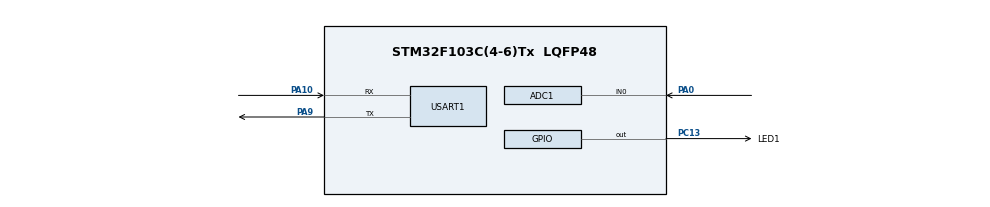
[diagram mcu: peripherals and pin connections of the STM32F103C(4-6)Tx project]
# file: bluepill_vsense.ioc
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ADC1.Channel-0\#ChannelRegularConversion=ADC_CHANNEL_0
ADC1.NbrOfConversionFlag=1
ADC1.Rank-0\#ChannelRegularConversion=1
ADC1.SamplingTime-0\#ChannelRegularConversion=ADC_SAMPLETIME_1CYCLE_5
ADC1.master=1
Mcu.Family=STM32F1
Mcu.Name=STM32F103C(4-6)Tx
Mcu.Package=LQFP48
NVIC.PriorityGroup=NVIC_PRIORITYGROUP_4
PA0-WKUP.Signal=ADCx_IN0
PA10.Mode=Asynchronous
PA10.Signal=USART1_RX
PA9.Mode=Asynchronous
PA9.Signal=USART1_TX
PC13-TAMPER-RTC.GPIO_Label=LED1
PC13-TAMPER-RTC.Signal=GPIO_Output
ProjectManager.HeapSize=0x200
ProjectManager.StackSize=0x400
ProjectManager.TargetToolchain=Makefile
RCC.APB1Freq_Value=8000000
RCC.APB2Freq_Value=8000000
SH.ADCx_IN0.0=ADC1_IN0,IN0
USART1.VirtualMode=VM_ASYNC
VP_SYS_VS_ND.Mode=No_Debug
board=custom

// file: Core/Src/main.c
/* USER CODE BEGIN Header */
/**
  ******************************************************************************
  * @file           : main.c
  * @brief          : Main program body
  ******************************************************************************
  * @attention
  *
  * Copyright (c) 2024 STMicroelectronics.
  * All rights reserved.
  *
  * This software is licensed under terms that can be found in the LICENSE file
  * in the root directory of this software component.
  * If no LICENSE file comes with this software, it is provided AS-IS.
  *
  ******************************************************************************
  */
/* USER CODE END Header */
#include "main.h"
#include <stdio.h>

ADC_HandleTypeDef hadc1;

UART_HandleTypeDef huart1;

void SystemClock_Config(void);
static void MX_GPIO_Init(void);
static void MX_ADC1_Init(void);
static void MX_USART1_UART_Init(void);

/* USER CODE BEGIN 0 */

int _write(int file, char *data, int len)
  {
    HAL_UART_Transmit(&huart1, (uint8_t*)data, len, HAL_MAX_DELAY);
    return len;
  }

void send_uart_message(const char *message)
  {
  // Send the string over UART
  HAL_UART_Transmit(&huart1, (uint8_t*)message, strlen(message), HAL_MAX_DELAY);
  }

/**
 * @brief   Checks the precharge voltage until voltage threshold is reached.
 * @param   vsense_target
 * @author  Alex Martinez
 */
int vsense(uint16_t vsense_target, int num_tries)
{
    int i=0;
    uint16_t value_adc;
    HAL_GPIO_TogglePin(LED1_GPIO_Port, LED1_Pin); //LED1
    while(i<num_tries)
    {
    HAL_ADC_Start(&hadc1); //needs to be here otherwise PollforConversion doesnt work
    HAL_ADC_PollForConversion(&hadc1, HAL_MAX_DELAY);
    value_adc = HAL_ADC_GetValue(&hadc1);
    if (value_adc > vsense_target) { // 4095 * 24(target voltage) / 103.6
      //HAL_GPIO_WritePin(DEBUG_2_GPIO_Port, DEBUG_2_Pin, GPIO_PIN_SET); //LED1
      send_uart_message("Threshold reached!\r\n");
      HAL_GPIO_TogglePin(LED1_GPIO_Port, LED1_Pin); //LED1
      return 1;
    } else {
      //HAL_GPIO_WritePin(DEBUG_2_GPIO_Port, DEBUG_2_Pin, GPIO_PIN_RESET); //LED2
      send_uart_message("undervoltage!\r\n");
    }
    i++;
    HAL_Delay(1000);
    }

  return 0;
  // placeholder
}

/* USER CODE END 0 */

int main(void)
{

  /* MCU Configuration--------------------------------------------------------*/

  /* Reset of all peripherals, Initializes the Flash interface and the Systick. */
  HAL_Init();

  /* Configure the system clock */
  SystemClock_Config();

  /* Initialize all configured peripherals */
  MX_GPIO_Init();
  MX_ADC1_Init();
  MX_USART1_UART_Init();
  /* USER CODE BEGIN 2 */
  uint16_t vsense_target = 2000;
  int num_tries = 10;

  vsense(vsense_target, num_tries);

  /* USER CODE END 2 */

  /* Infinite loop */
  while (1)
  {

    /* USER CODE BEGIN 3 */
    send_uart_message("Reset to test again.\r\n");
    HAL_Delay(1000);

  }
  /* USER CODE END 3 */
}

void SystemClock_Config(void)
{
  RCC_OscInitTypeDef RCC_OscInitStruct = {0};
  RCC_ClkInitTypeDef RCC_ClkInitStruct = {0};
  RCC_PeriphCLKInitTypeDef PeriphClkInit = {0};

  /** Initializes the RCC Oscillators according to the specified parameters
  * in the RCC_OscInitTypeDef structure.
  */
  RCC_OscInitStruct.OscillatorType = RCC_OSCILLATORTYPE_HSI;
  RCC_OscInitStruct.HSIState = RCC_HSI_ON;
  RCC_OscInitStruct.HSICalibrationValue = RCC_HSICALIBRATION_DEFAULT;
  RCC_OscInitStruct.PLL.PLLState = RCC_PLL_NONE;
  if (HAL_RCC_OscConfig(&RCC_OscInitStruct) != HAL_OK)
  {
    Error_Handler();
  }

  /** Initializes the CPU, AHB and APB buses clocks
  */
  RCC_ClkInitStruct.ClockType = RCC_CLOCKTYPE_HCLK|RCC_CLOCKTYPE_SYSCLK
                              |RCC_CLOCKTYPE_PCLK1|RCC_CLOCKTYPE_PCLK2;
  RCC_ClkInitStruct.SYSCLKSource = RCC_SYSCLKSOURCE_HSI;
  RCC_ClkInitStruct.AHBCLKDivider = RCC_SYSCLK_DIV1;
  RCC_ClkInitStruct.APB1CLKDivider = RCC_HCLK_DIV1;
  RCC_ClkInitStruct.APB2CLKDivider = RCC_HCLK_DIV1;

  if (HAL_RCC_ClockConfig(&RCC_ClkInitStruct, FLASH_LATENCY_0) != HAL_OK)
  {
    Error_Handler();
  }
  PeriphClkInit.PeriphClockSelection = RCC_PERIPHCLK_ADC;
  PeriphClkInit.AdcClockSelection = RCC_ADCPCLK2_DIV2;
  if (HAL_RCCEx_PeriphCLKConfig(&PeriphClkInit) != HAL_OK)
  {
    Error_Handler();
  }
}

static void MX_ADC1_Init(void)
{

  ADC_ChannelConfTypeDef sConfig = {0};

  /** Common config
  */
  hadc1.Instance = ADC1;
  hadc1.Init.ScanConvMode = ADC_SCAN_DISABLE;
  hadc1.Init.ContinuousConvMode = DISABLE;
  hadc1.Init.DiscontinuousConvMode = DISABLE;
  hadc1.Init.ExternalTrigConv = ADC_SOFTWARE_START;
  hadc1.Init.DataAlign = ADC_DATAALIGN_RIGHT;
  hadc1.Init.NbrOfConversion = 1;
  if (HAL_ADC_Init(&hadc1) != HAL_OK)
  {
    Error_Handler();
  }

  /** Configure Regular Channel
  */
  sConfig.Channel = ADC_CHANNEL_0;
  sConfig.Rank = ADC_REGULAR_RANK_1;
  sConfig.SamplingTime = ADC_SAMPLETIME_1CYCLE_5;
  if (HAL_ADC_ConfigChannel(&hadc1, &sConfig) != HAL_OK)
  {
    Error_Handler();
  }

}

static void MX_USART1_UART_Init(void)
{

  huart1.Instance = USART1;
  huart1.Init.BaudRate = 115200;
  huart1.Init.WordLength = UART_WORDLENGTH_8B;
  huart1.Init.StopBits = UART_STOPBITS_1;
  huart1.Init.Parity = UART_PARITY_NONE;
  huart1.Init.Mode = UART_MODE_TX_RX;
  huart1.Init.HwFlowCtl = UART_HWCONTROL_NONE;
  huart1.Init.OverSampling = UART_OVERSAMPLING_16;
  if (HAL_UART_Init(&huart1) != HAL_OK)
  {
    Error_Handler();
  }

}

static void MX_GPIO_Init(void)
{
  GPIO_InitTypeDef GPIO_InitStruct = {0};

  /* GPIO Ports Clock Enable */
  __HAL_RCC_GPIOC_CLK_ENABLE();
  __HAL_RCC_GPIOA_CLK_ENABLE();

  /*Configure GPIO pin Output Level */
  HAL_GPIO_WritePin(LED1_GPIO_Port, LED1_Pin, GPIO_PIN_RESET);

  /*Configure GPIO pin : LED1_Pin */
  GPIO_InitStruct.Pin = LED1_Pin;
  GPIO_InitStruct.Mode = GPIO_MODE_OUTPUT_PP;
  GPIO_InitStruct.Pull = GPIO_NOPULL;
  GPIO_InitStruct.Speed = GPIO_SPEED_FREQ_LOW;
  HAL_GPIO_Init(LED1_GPIO_Port, &GPIO_InitStruct);

}

void Error_Handler(void)
{
  __disable_irq();
  while (1)
  {
  }
}
